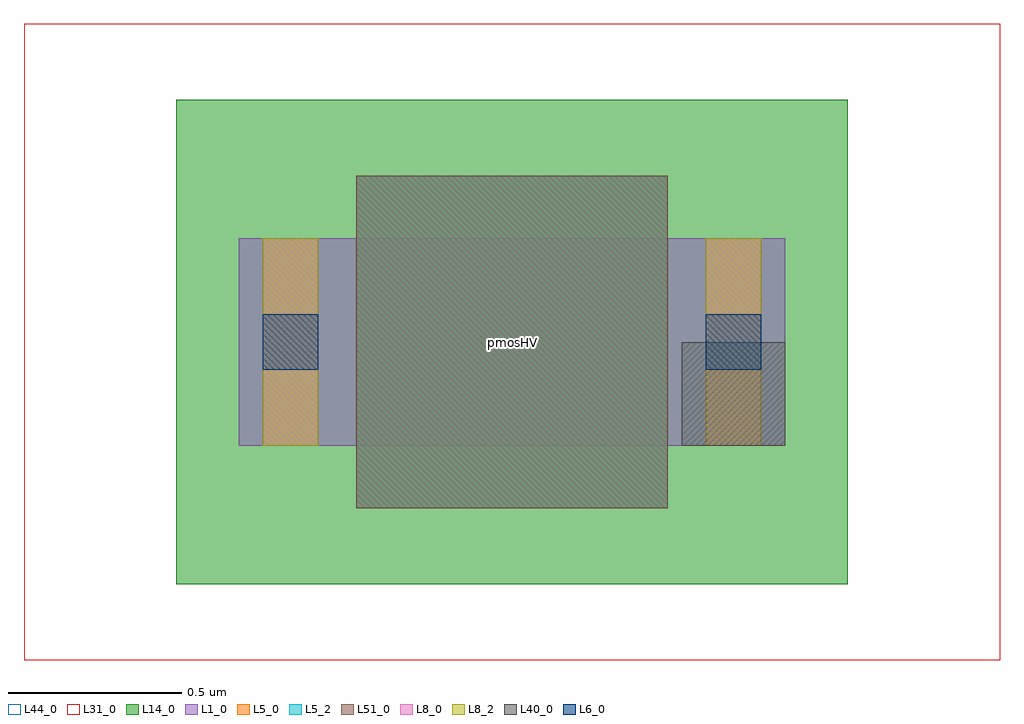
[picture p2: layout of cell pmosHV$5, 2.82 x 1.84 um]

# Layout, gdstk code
import gdstk
lib = gdstk.Library(unit=1e-6, precision=1e-09)
def R(c, l, rs):  # rectangles x0, y0, x1, y1
    for r in rs: c.add(gdstk.rectangle(r[:2], r[2:], *l))
L1_0 = (1, 0)
L5_0 = (5, 0)
L5_2 = (5, 2)
L6_0 = (6, 0)
L8_0 = (8, 0)
L8_2 = (8, 2)
L14_0 = (14, 0)
L31_0 = (31, 0)
L40_0 = (40, 0)
L44_0 = (44, 0)
L51_0 = (51, 0)

pmoshv_5 = lib.new_cell('pmosHV$5')
R(pmoshv_5, L1_0, [(0,0,0.3,0.3), (0,0,1.58,0.6), (1.28,0,1.58,0.3)])
R(pmoshv_5, L5_0, [(0.34,-0.18,1.24,0.78)])
R(pmoshv_5, L5_2, [(0.34,-0.18,1.24,0.78)])
R(pmoshv_5, L6_0, [(0.07,0.22,0.23,0.38), (1.35,0.22,1.51,0.38)])
R(pmoshv_5, L8_0, [(0.07,0,0.23,0.6), (1.35,0,1.51,0.6)])
R(pmoshv_5, L8_2, [(0.07,0,0.23,0.6), (1.35,0,1.51,0.6)])
R(pmoshv_5, L14_0, [(-0.18,-0.4,1.76,1)])
R(pmoshv_5, L31_0, [(-0.62,-0.62,2.2,1.22)])
R(pmoshv_5, L40_0, [(1.28,0,1.58,0.3)])
R(pmoshv_5, L44_0, [(-0.62,-0.62,2.2,1.22)])
R(pmoshv_5, L51_0, [(0.34,-0.18,1.24,0.78)])
pmoshv_5.add(gdstk.Label('pmosHV', (0.79,0.3), layer=63, texttype=0))
pmoshv_5.add(gdstk.Label('pmos', (0.79,0.3), layer=51, texttype=0))

lib.write_gds('pmosHV_5.gds')
